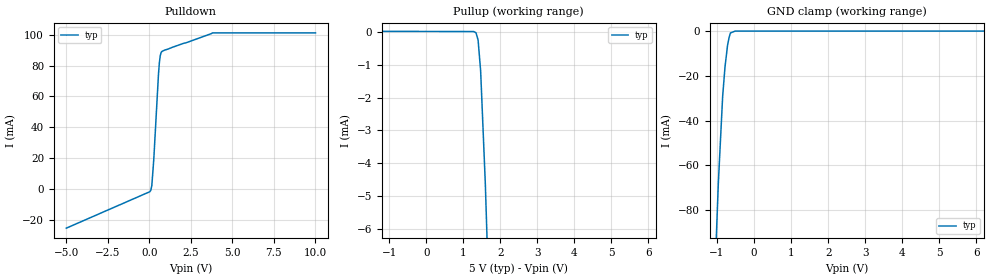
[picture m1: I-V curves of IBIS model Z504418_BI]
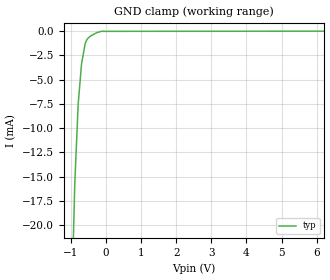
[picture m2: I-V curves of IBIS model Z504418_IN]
| YOU ARE ONLY AUTHORIZED TO USE THIS SOFTWARE
| ACCORDING TO LICENSOR'S LICENSE RESTRICTIONS.
[IBIS Ver] 3.1
[File Name] sn54ls243j.ibs
[File Rev] 2.0
[Source] Measured and created by ICX Technology
[Date] Friday 7/14/00 9:08:14 AM
[Copyright]
| (C) COPYRIGHT 1993-2000
| MENTOR GRAPHICS CORPORATION
| ICX STANDARD LIBRARY, ICX PROJECT MODELING,
| ICX CUSTOM MODELING, ICX VENDOR MODEL
| ALL RIGHTS RESERVED.
| THE FOLLOWING ARE TRADEMARKS OR SERVICE MARKS OF
| MENTOR GRAPHICS CORPORATION:ICX (R), ICX STANDARD
| LIBRARY(R), ICX PROJECT MODELING(R), ICX CUSTOM
| MODELING(R), qualityIBIS(TM), MODELVIEWER(TM),
| AND MODELEDITOR(TM)
| ALL COPIES OF SOFTWARE, INCLUDING BUT NOT LIMITED TO
| ANY MODIFICATIONS, ENHANCEMENTS OR DERIVATIVE WORKS,
| MUST CONTAIN ALL MENTOR GRAPHICS CORPORATION'S
| NOTICES AND LEGENDS, INCLUDING THOSE EMBEDDED IN
| SOFTWARE AND THOSE AFFIXED TO SOFTWARE MEDIUM
| AND CONTAINER, AS RECEIVED FROM MENTOR GRAPHICS
| CORPORATION.
|  ZAP Model Builder 2.7
[Component] SN54LS243J
[Manufacturer] OnSemiconductor
[Package]
| variable   typ   min   max
R_pkg  .21ohms NA NA
L_pkg  4.543nH NA NA
C_pkg  1.8pF NA NA
[Pin] signal_name  model_name  R_pin  L_pin C_pin
1 _GAB Z504418_IN .22 6.757n 2.434p
2 NC NC .212 4.757n 1.941p
3 A1 Z504418_BI .204 3.257n 1.448p
4 A2 Z504418_BI .196 2.257n .955p
5 A3 Z504418_BI .204 3.257n 1.448p
6 A4 Z504418_BI .212 4.757n 1.941p
7 GND GND .22 6.757n 2.434p
8 B4 Z504418_BI .22 6.757n 2.434p
9 B3 Z504418_BI .212 4.757n 1.941p
10 B2 Z504418_BI .204 3.257n 1.448p
11 B1 Z504418_BI .196 2.257n .955p
12 NC NC .204 3.257n 1.448p
13 GBA Z504418_IN .212 4.757n 1.941p
14 VCC POWER .22 6.757n 2.434p
| Models and submodels in the file (2): Z504418_BI (I/O), Z504418_IN (Input)
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| (C) COPYRIGHT 1993-2000
| MENTOR GRAPHICS CORPORATION
| ICX STANDARD LIBRARY, ICX PROJECT MODELING,
| ICX CUSTOM MODELING, ICX VENDOR MODEL
| ALL RIGHTS RESERVED.
| THE FOLLOWING ARE TRADEMARKS OR SERVICE MARKS OF
| MENTOR GRAPHICS CORPORATION:ICX (R), ICX STANDARD
| LIBRARY(R), ICX PROJECT MODELING(R), ICX CUSTOM
| MODELING(R), qualityIBIS(TM), MODELVIEWER(TM),
| AND MODELEDITOR(TM)
| ALL COPIES OF SOFTWARE, INCLUDING BUT NOT LIMITED TO
| ANY MODIFICATIONS, ENHANCEMENTS OR DERIVATIVE WORKS,
| MUST CONTAIN ALL MENTOR GRAPHICS CORPORATION'S
| NOTICES AND LEGENDS, INCLUDING THOSE EMBEDDED IN
| SOFTWARE AND THOSE AFFIXED TO SOFTWARE MEDIUM
| AND CONTAINER, AS RECEIVED FROM MENTOR GRAPHICS
| CORPORATION.
| Model Application Version 1.89 2/18/99.
[Model] Z504418_BI
Model_type I/O
Vinl=800.0mV
Vinh=2.000V
Vref=588.0mV
Rref=588.5ohms
Cref=45.00pF
Vmeas=1.300V
C_comp 8.000pF NA NA
| variable typ   min   max
[Voltage Range] 5.000V NA NA
[POWER Clamp Reference] 5.000V NA NA
[Pullup Reference] 5.000V NA NA
[Pulldown Reference] 0.000V NA NA
[GND Clamp Reference] 0.000V NA NA
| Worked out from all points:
|   slope of the pulldown table from 0 to 0.75 V, typ, clamps not added: 8.23 ohm
|   GND clamp passes 1 mA (typ) near -0.64 V on its own axis
[GND Clamp]
-5V       -2.156A    NA         NA
-1.089V   -122.7mA   NA         NA
-966.8mV  -68.36mA   NA         NA
-849.5mV  -29.24mA   NA         NA
-785.5mV  -16.01mA   NA         NA
-717.8mV  -6.463mA   NA         NA
-678.7mV  -3.105mA   NA         NA
-639.6mV  -836.2uA   NA         NA
-511.7mV  0A         NA         NA
10V       0A         NA         NA
[Pulldown]
-5V       -25.51mA   NA         NA
29.83mV   -1.839mA   NA         NA
87.89mV   -889.1uA   NA         NA
149.7mV   2.152mA    NA         NA
267.4mV   19.21mA    NA         NA
547.1mV   73.85mA    NA         NA
597.8mV   81.21mA    NA         NA
654.4mV   86.4mA     NA         NA
711.3mV   88.63mA    NA         NA
750mV     89.15mA    NA         NA
3.809V    101.3mA    NA         NA
10V       101.3mA    NA         NA
[Pullup]
-5V       15.94uA    NA         NA
1.282V    1.427uA    NA         NA
1.344V    -34.13uA   NA         NA
1.401V    -252.9uA   NA         NA
1.47V     -1.189mA   NA         NA
1.597V    -4.63mA    NA         NA
10V       -306.3mA   NA         NA
[POWER Clamp]
-5V       0A         NA         NA
10V       0A         NA         NA
[Ramp]
| variable typ min max
dV/dt_r 1.946/6.021n NA NA
dV/dt_f 1.946/1.817n NA NA
R_load = 500.0Ohms
| (C) COPYRIGHT 1993-2000
| MENTOR GRAPHICS CORPORATION
| ICX STANDARD LIBRARY, ICX PROJECT MODELING,
| ICX CUSTOM MODELING, ICX VENDOR MODEL
| ALL RIGHTS RESERVED.
| THE FOLLOWING ARE TRADEMARKS OR SERVICE MARKS OF
| MENTOR GRAPHICS CORPORATION:ICX (R), ICX STANDARD
| LIBRARY(R), ICX PROJECT MODELING(R), ICX CUSTOM
| MODELING(R), qualityIBIS(TM), MODELVIEWER(TM),
| AND MODELEDITOR(TM)
| ALL COPIES OF SOFTWARE, INCLUDING BUT NOT LIMITED TO
| ANY MODIFICATIONS, ENHANCEMENTS OR DERIVATIVE WORKS,
| MUST CONTAIN ALL MENTOR GRAPHICS CORPORATION'S
| NOTICES AND LEGENDS, INCLUDING THOSE EMBEDDED IN
| SOFTWARE AND THOSE AFFIXED TO SOFTWARE MEDIUM
| AND CONTAINER, AS RECEIVED FROM MENTOR GRAPHICS
| CORPORATION.
| Model Application Version 1.89 2/18/99.
[Model] Z504418_IN
Model_type Input
Vinl = 800.0mV
Vinh = 2.000V
C_comp 4.000pF NA NA
| variable typ   min   max
[Voltage Range] 5.000V NA NA
[GND Clamp Reference] 0.000V NA NA
[POWER Clamp Reference] 5.000V NA NA
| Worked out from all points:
|   GND clamp passes 1 mA (typ) near -0.56 V on its own axis
[GND Clamp]
-5V       -594.7mA   NA         NA
-888.5mV  -15.77mA   NA         NA
-791mV    -7.498mA   NA         NA
-696.2mV  -3.38mA    NA         NA
-595.7mV  -1.338mA   NA         NA
-561.3mV  -984uA     NA         NA
-522.7mV  -757.5uA   NA         NA
-444.3mV  -507.9uA   NA         NA
-266mV    -151.2uA   NA         NA
-133mV    -9.631uA   NA         NA
10V       17.19uA    NA         NA
[POWER Clamp]
-5V       0A         NA         NA
10V       0A         NA         NA
